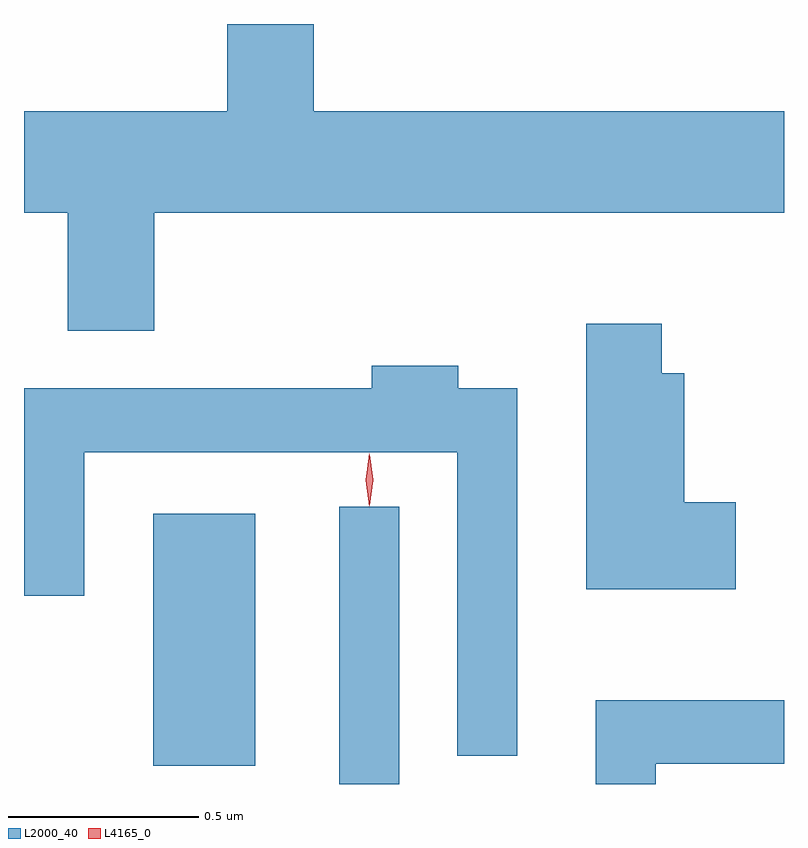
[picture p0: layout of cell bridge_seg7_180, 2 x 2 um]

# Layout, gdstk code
import gdstk
lib = gdstk.Library(unit=1e-6, precision=1e-09)
def R(c, l, rs):  # rectangles x0, y0, x1, y1
    for r in rs: c.add(gdstk.rectangle(r[:2], r[2:], *l))
def P(c, l, *ps):  # polygons
    for p in ps: c.add(gdstk.Polygon(p, *l))
L2000_40 = (2000, 40)
L4165_0 = (4165, 0)

bridge_seg7_180 = lib.new_cell('bridge_seg7_180')
R(bridge_seg7_180, L2000_40, [(1497.066,1701.713,1497.224,1702.443), (1496.576,1701.761,1496.844,1702.424)])
P(bridge_seg7_180, L2000_40, [(1496.579,1703.216),(1498.236,1703.216),(1498.236,1703.484),(1496.999,1703.484),(1496.999,1703.713),(1496.771,1703.713),(1496.771,1703.484),(1496.236,1703.484),(1496.236,1703.216),(1496.351,1703.216),(1496.351,1702.906),(1496.579,1702.906)],
  [(1498.109,1702.454),(1497.974,1702.454),(1497.974,1702.794),(1497.914,1702.794),(1497.914,1702.924),(1497.716,1702.924),(1497.716,1702.226),(1498.109,1702.226)],
  [(1497.534,1702.754),(1497.379,1702.754),(1497.379,1702.814),(1497.151,1702.814),(1497.151,1702.754),(1496.236,1702.754),(1496.236,1702.208),(1496.394,1702.208),(1496.394,1702.586),(1497.376,1702.586),(1497.376,1701.788),(1497.534,1701.788)],
  [(1497.899,1701.766),(1498.236,1701.766),(1498.236,1701.934),(1497.741,1701.934),(1497.741,1701.713),(1497.899,1701.713)])
P(bridge_seg7_180, L4165_0, [(1497.144,1702.444),(1497.135,1702.513),(1497.144,1702.582),(1497.145,1702.583),(1497.145,1702.582),(1497.155,1702.513),(1497.145,1702.444),(1497.145,1702.444)],
  [(1497.144,1702.447),(1497.135,1702.514),(1497.144,1702.58),(1497.145,1702.58),(1497.146,1702.58),(1497.155,1702.514),(1497.146,1702.447),(1497.145,1702.447)])

lib.write_gds('bridge_seg7_180.gds')
